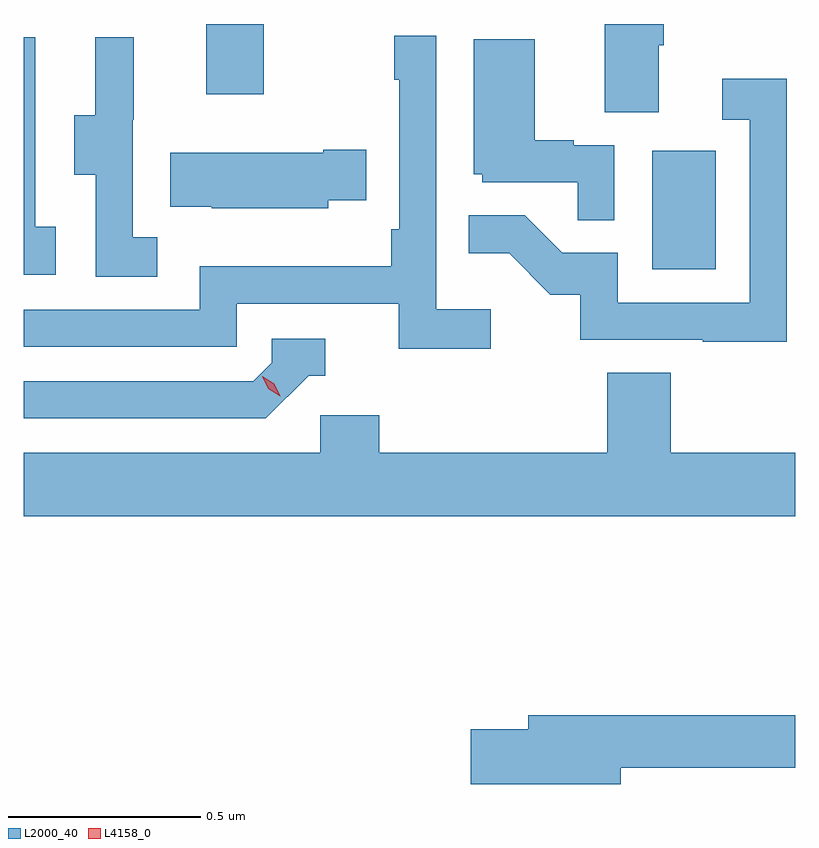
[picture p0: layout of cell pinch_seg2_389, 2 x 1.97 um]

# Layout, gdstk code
import gdstk
lib = gdstk.Library(unit=1e-6, precision=1e-09)
def R(c, l, rs):  # rectangles x0, y0, x1, y1
    for r in rs: c.add(gdstk.rectangle(r[:2], r[2:], *l))
def P(c, l, *ps):  # polygons
    for p in ps: c.add(gdstk.Polygon(p, *l))
L2000_40 = (2000, 40)
L4158_0 = (4158, 0)

pinch_seg2_389 = lib.new_cell('pinch_seg2_389')
R(pinch_seg2_389, L2000_40, [(994.754,608.316,994.918,608.623), (993.599,608.769,993.747,608.951)])
P(pinch_seg2_389, L2000_40, [(994.771,608.896),(994.784,608.896),(994.784,608.951),(994.631,608.951),(994.631,608.722),(994.771,608.722)],
  [(994.336,608.212),(994.194,608.212),(994.194,608.92),(994.086,608.92),(994.086,608.807),(994.098,608.807),(994.098,608.419),(994.078,608.419),(994.078,608.323),(993.582,608.323),(993.582,608.211),(993.125,608.211),(993.125,608.115),(993.678,608.115),(993.678,608.226),(994.097,608.226),(994.097,608.11),(994.336,608.11)],
  [(993.208,608.426),(993.156,608.426),(993.156,608.917),(993.125,608.917),(993.125,608.301),(993.208,608.301)],
  [(993.472,608.399),(993.408,608.399),(993.408,608.703),(993.41,608.703),(993.41,608.917),(993.311,608.917),(993.311,608.715),(993.257,608.715),(993.257,608.56),(993.312,608.56),(993.312,608.296),(993.472,608.296)],
  [(994.656,608.637),(994.55,608.637),(994.55,608.65),(994.45,608.65),(994.45,608.911),(994.292,608.911),(994.292,608.562),(994.314,608.562),(994.314,608.541),(994.561,608.541),(994.561,608.443),(994.656,608.443)],
  [(995.103,608.809),(994.935,608.809),(994.935,608.703),(995.007,608.703),(995.007,608.229),(994.665,608.229),(994.665,608.358),(994.521,608.358),(994.423,608.456),(994.279,608.456),(994.279,608.357),(994.383,608.357),(994.49,608.25),(994.567,608.25),(994.567,608.133),(994.885,608.133),(994.885,608.128),(995.103,608.128)],
  [(993.915,608.495),(994.013,608.495),(994.013,608.625),(993.902,608.625),(993.902,608.617),(993.505,608.617),(993.505,608.477),(993.613,608.477),(993.613,608.474),(993.915,608.474)],
  [(993.864,608.04),(993.907,608.04),(993.907,608.136),(993.768,608.136),(993.768,608.073),(993.72,608.025),(993.125,608.025),(993.125,607.929),(993.753,607.929)],
  [(995.125,607.84),(994.802,607.84),(994.802,608.048),(994.637,608.048),(994.637,607.84),(994.046,607.84),(994.046,607.938),(993.894,607.938),(993.894,607.84),(993.125,607.84),(993.125,607.676),(995.125,607.676)],
  [(994.672,607.024),(995.125,607.024),(995.125,607.16),(994.433,607.16),(994.433,607.124),(994.284,607.124),(994.284,606.982),(994.672,606.982)])
P(pinch_seg2_389, L4158_0, [(993.79,607.986),(993.759,608.006),(993.743,608.038),(993.743,608.039),(993.744,608.039),(993.774,608.019),(993.79,607.986),(993.79,607.986)])

lib.write_gds('pinch_seg2_389.gds')
